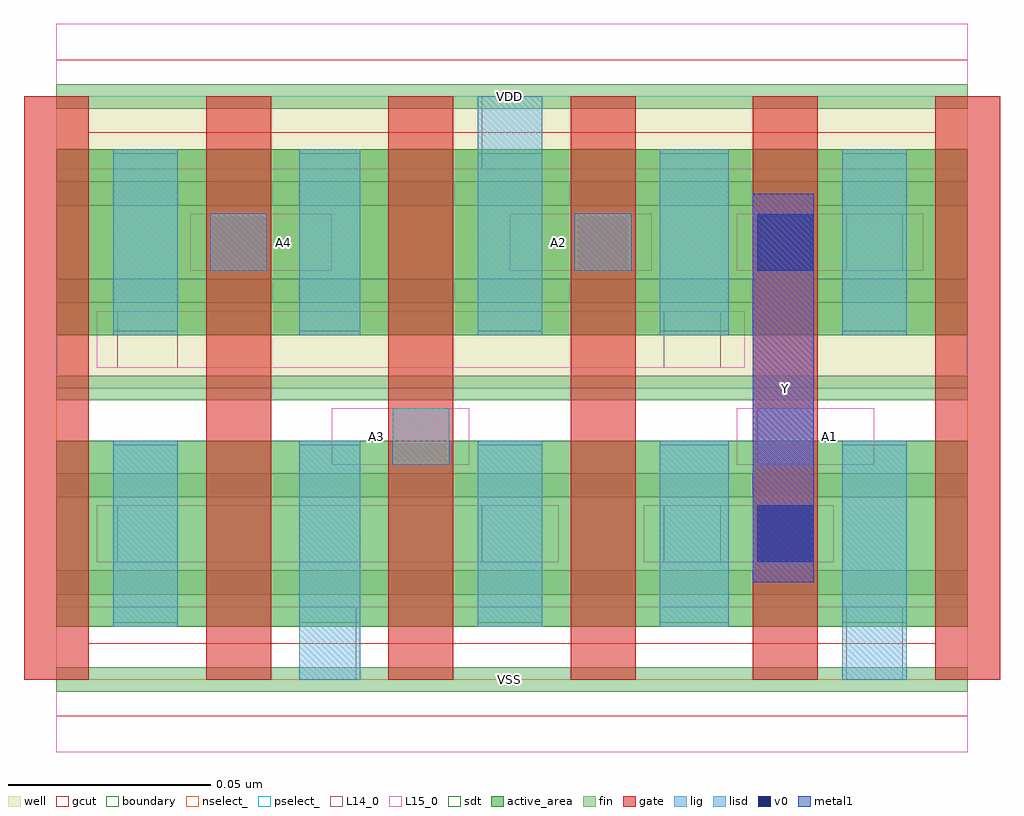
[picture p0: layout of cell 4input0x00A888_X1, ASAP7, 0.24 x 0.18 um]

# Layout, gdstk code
import gdstk
lib = gdstk.Library(unit=1e-6, precision=1e-09)
def R(c, l, rs):  # rectangles x0, y0, x1, y1
    for r in rs: c.add(gdstk.rectangle(r[:2], r[2:], *l))
def A(c, l, x, y, w, h, nx, ny, dx, dy):  # array of equal rectangles
    R(c, l, [(x+i*dx, y+j*dy, x+i*dx+w, y+j*dy+h) for i in range(nx) for j in range(ny)])
def P(c, l, *ps):  # polygons
    for p in ps: c.add(gdstk.Polygon(p, *l))
well = (1, 0)
fin = (2, 0)
gate = (7, 0)
gcut = (10, 0)
active_area = (11, 0)
nselect_ = (12, 0)
pselect_ = (13, 0)
L14_0 = (14, 0)
L15_0 = (15, 0)
lig = (16, 0)
lisd = (17, 0)
v0 = (18, 0)
metal1 = (19, 0)
sdt = (88, 0)
boundary = (100, 0)

c_4input0x00a888_x1 = lib.new_cell('4input0x00A888_X1')
R(c_4input0x00a888_x1, well, [(0,0.072,0.225,0.144)])
A(c_4input0x00a888_x1, fin, 0, -0.003, 0.225, 0.006, 1, 7, 0, 0.024)
A(c_4input0x00a888_x1, gate, -0.008, 0, 0.016, 0.144, 6, 1, 0.045, 0)
P(c_4input0x00a888_x1, gcut, [(0,-0.009),(0,0),(-0.008,0),(-0.008,0.135),(0.008,0.135),(0.008,0.009),(0.217,0.009),(0.217,0.135),(-0.008,0.135),(-0.008,0.144),(0,0.144),(0,0.153),(0.225,0.153),(0.225,0.144),(0.233,0.144),(0.233,0),(0.225,0),(0.225,-0.009)])
R(c_4input0x00a888_x1, active_area, [(0,0.013,0.225,0.059), (0,0.085,0.225,0.131)])
R(c_4input0x00a888_x1, nselect_, [(0,0,0.225,0.072)])
R(c_4input0x00a888_x1, pselect_, [(0,0.072,0.225,0.144)])
R(c_4input0x00a888_x1, L14_0, [(0.06,0,0.074,0.018), (0.195,0,0.209,0.018), (0.015,0.029,0.03,0.043), (0.105,0.029,0.12,0.043), (0.15,0.029,0.164,0.043), (0.083,0.053,0.097,0.067), (0.173,0.053,0.187,0.067), (0.015,0.077,0.03,0.091), (0.15,0.077,0.164,0.091), (0.038,0.101,0.052,0.115), (0.128,0.101,0.142,0.115), (0.195,0.101,0.209,0.115), (0.105,0.126,0.12,0.144)])
R(c_4input0x00a888_x1, L15_0, [(0,-0.018,0.225,0.018), (0.01,0.029,0.124,0.043), (0.145,0.029,0.192,0.043), (0.068,0.053,0.102,0.067), (0.168,0.053,0.202,0.067), (0.01,0.077,0.17,0.091), (0.033,0.101,0.068,0.115), (0.112,0.101,0.147,0.115), (0.168,0.101,0.214,0.115), (0,0.126,0.225,0.162)])
R(c_4input0x00a888_x1, lig, [(0.083,0.053,0.097,0.067), (0.173,0.053,0.187,0.067), (0.038,0.101,0.052,0.115), (0.128,0.101,0.142,0.115)])
R(c_4input0x00a888_x1, lisd, [(0.06,0,0.075,0.059), (0.194,0,0.21,0.059), (0.014,0.013,0.03,0.059), (0.104,0.013,0.12,0.059), (0.149,0.013,0.166,0.059), (0.014,0.085,0.03,0.131), (0.06,0.085,0.075,0.131), (0.104,0.085,0.12,0.144), (0.149,0.085,0.166,0.131), (0.194,0.085,0.21,0.131)])
R(c_4input0x00a888_x1, v0, [(0.173,0.029,0.187,0.043), (0.173,0.101,0.187,0.115)])
R(c_4input0x00a888_x1, metal1, [(0.172,0.024,0.187,0.12)])
A(c_4input0x00a888_x1, sdt, 0.014, 0.014, 0.016, 0.044, 3, 2, 0.09, 0.072)
R(c_4input0x00a888_x1, sdt, [(0.06,0.014,0.075,0.058), (0.149,0.014,0.166,0.058), (0.06,0.086,0.075,0.13), (0.149,0.086,0.166,0.13)])
R(c_4input0x00a888_x1, boundary, [(0,0,0.225,0.144)])
c_4input0x00a888_x1.add(gdstk.Label('A1', (0.191,0.06), layer=15, texttype=251))
c_4input0x00a888_x1.add(gdstk.Label('VSS', (0.112,0), layer=15, texttype=251))
c_4input0x00a888_x1.add(gdstk.Label('VDD', (0.112,0.144), layer=15, texttype=251))
c_4input0x00a888_x1.add(gdstk.Label('VSS', (0.112,0), layer=15, texttype=251))
c_4input0x00a888_x1.add(gdstk.Label('VDD', (0.112,0.144), layer=15, texttype=251))
c_4input0x00a888_x1.add(gdstk.Label('A2', (0.124,0.108), layer=15, texttype=251))
c_4input0x00a888_x1.add(gdstk.Label('VSS', (0.112,0), layer=15, texttype=251))
c_4input0x00a888_x1.add(gdstk.Label('VDD', (0.112,0.144), layer=15, texttype=251))
c_4input0x00a888_x1.add(gdstk.Label('A3', (0.079,0.06), layer=15, texttype=251))
c_4input0x00a888_x1.add(gdstk.Label('VSS', (0.112,0), layer=15, texttype=251))
c_4input0x00a888_x1.add(gdstk.Label('VDD', (0.112,0.144), layer=15, texttype=251))
c_4input0x00a888_x1.add(gdstk.Label('A4', (0.056,0.108), layer=15, texttype=251))
c_4input0x00a888_x1.add(gdstk.Label('VSS', (0.112,0), layer=15, texttype=251))
c_4input0x00a888_x1.add(gdstk.Label('VDD', (0.112,0.144), layer=15, texttype=251))
c_4input0x00a888_x1.add(gdstk.Label('VSS', (0.112,0), layer=3, texttype=251))
c_4input0x00a888_x1.add(gdstk.Label('VSS', (0.112,0), layer=3, texttype=251))
c_4input0x00a888_x1.add(gdstk.Label('VSS', (0.112,0), layer=3, texttype=251))
c_4input0x00a888_x1.add(gdstk.Label('VSS', (0.112,0), layer=3, texttype=251))
c_4input0x00a888_x1.add(gdstk.Label('VSS', (0.112,0), layer=3, texttype=251))
c_4input0x00a888_x1.add(gdstk.Label('VDD', (0.112,0.144), layer=1, texttype=251))
c_4input0x00a888_x1.add(gdstk.Label('VDD', (0.112,0.144), layer=1, texttype=251))
c_4input0x00a888_x1.add(gdstk.Label('VDD', (0.112,0.144), layer=1, texttype=251))
c_4input0x00a888_x1.add(gdstk.Label('VDD', (0.112,0.144), layer=1, texttype=251))
c_4input0x00a888_x1.add(gdstk.Label('VDD', (0.112,0.144), layer=1, texttype=251))
c_4input0x00a888_x1.add(gdstk.Label('Y', (0.18,0.072), layer=19, texttype=251))

lib.write_gds('4input0x00A888_X1.gds')
